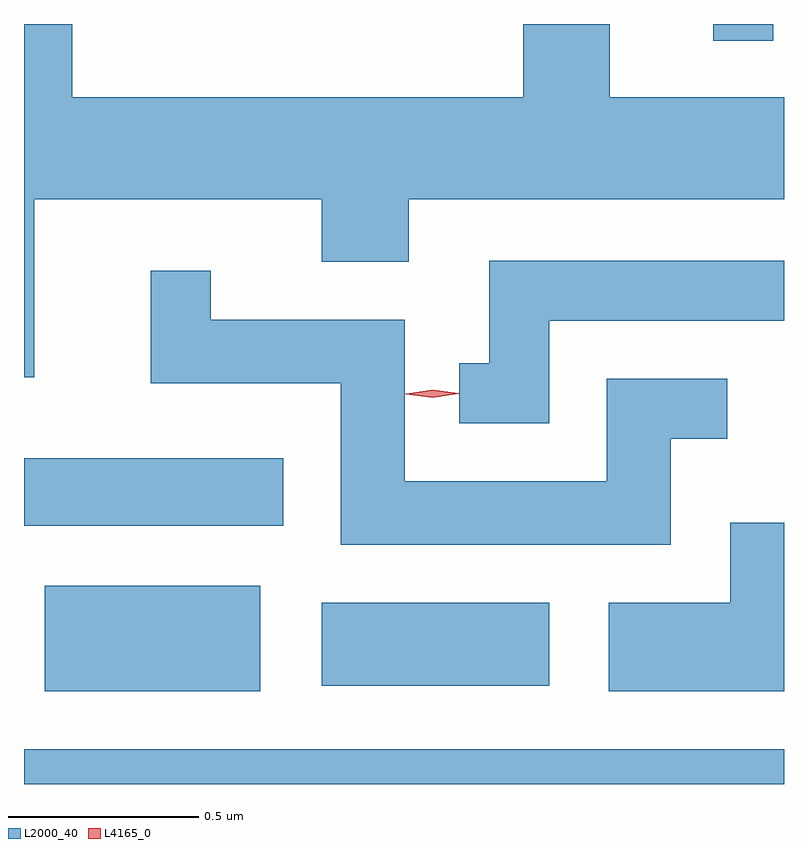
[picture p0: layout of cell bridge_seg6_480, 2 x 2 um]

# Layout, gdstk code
import gdstk
lib = gdstk.Library(unit=1e-6, precision=1e-09)
def R(c, l, rs):  # rectangles x0, y0, x1, y1
    for r in rs: c.add(gdstk.rectangle(r[:2], r[2:], *l))
def P(c, l, *ps):  # polygons
    for p in ps: c.add(gdstk.Polygon(p, *l))
L2000_40 = (2000, 40)
L4165_0 = (4165, 0)

bridge_seg6_480 = lib.new_cell('bridge_seg6_480')
R(bridge_seg6_480, L2000_40, [(807.577,1628.417,809.577,1628.509), (807.631,1628.661,808.199,1628.939), (808.361,1628.676,808.959,1628.894), (807.577,1629.096,808.259,1629.274), (809.391,1630.373,809.549,1630.417)])
P(bridge_seg6_480, L2000_40, [(807.604,1629.956),(808.361,1629.956),(808.361,1629.791),(808.589,1629.791),(808.589,1629.956),(809.577,1629.956),(809.577,1630.224),(809.119,1630.224),(809.119,1630.417),(808.891,1630.417),(808.891,1630.224),(807.704,1630.224),(807.704,1630.417),(807.577,1630.417),(807.577,1629.488),(807.604,1629.488)],
  [(808.959,1629.636),(809.577,1629.636),(809.577,1629.794),(808.801,1629.794),(808.801,1629.524),(808.723,1629.524),(808.723,1629.366),(808.959,1629.366)],
  [(809.279,1629.326),(809.428,1629.326),(809.428,1629.484),(809.111,1629.484),(809.111,1629.214),(808.579,1629.214),(808.579,1629.639),(808.069,1629.639),(808.069,1629.768),(807.911,1629.768),(807.911,1629.471),(808.411,1629.471),(808.411,1629.046),(809.279,1629.046)],
  [(809.577,1629.104),(809.436,1629.104),(809.436,1628.894),(809.116,1628.894),(809.116,1628.661),(809.577,1628.661)])
P(bridge_seg6_480, L4165_0, [(808.652,1629.434),(808.582,1629.443),(808.582,1629.444),(808.582,1629.444),(808.652,1629.454),(808.721,1629.445),(808.721,1629.444),(808.721,1629.444)])

lib.write_gds('bridge_seg6_480.gds')
